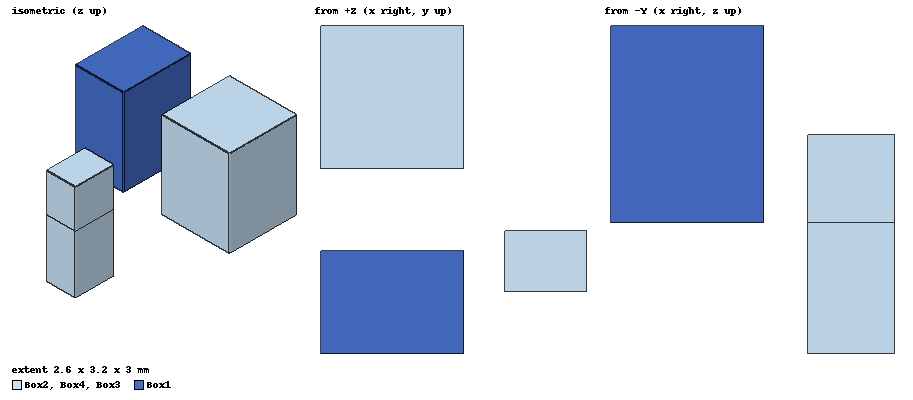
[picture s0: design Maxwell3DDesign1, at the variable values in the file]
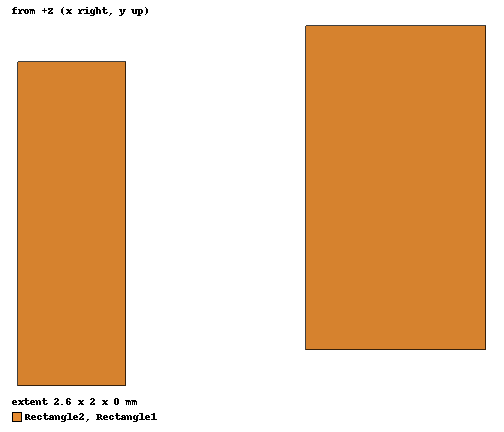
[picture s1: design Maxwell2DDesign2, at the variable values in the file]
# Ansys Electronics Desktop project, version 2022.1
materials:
  vacuum: permittivity=1
  TDK_FB6H_60cel: permeability=1.0539969 magnetic_coercivity{Magnitude=-278571.43A_per_meter DirComp1=1 DirComp2=0 DirComp3=0}
  copper: permeability=0.999991 conductivity=58000000

design Maxwell3DDesign1 (Maxwell 3D, Magnetostatic, model units mm)
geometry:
  Box1 [TDK_FB6H_60cel] = box(corner=(-0.6mm, -2.2mm, 0mm), size=(1.4mm, 1mm, 1.8mm))
  Box2 [vacuum] = box(corner=(-0.6mm, -0.4mm, 0mm), size=(1.4mm, 1.4mm, 1.8mm))
  Box3 [vacuum] = box(corner=(1.2mm, -1.6mm, 0mm), size=(0.8mm, 0.6mm, 0.8mm))
  Box4 [vacuum] = box(corner=(2mm, -1.6mm, 0mm), size=(-0.8mm, 0.6mm, -1.2mm))
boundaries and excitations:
  Insulating1: Insulating Faces=Box1.face(+z)
  IntegratedZeroTangentialHField1: Zero Integrated Tangential H Field Faces=Box2.face(+z)
  Independent1: Independent Faces=Box2.face(+x) CoordSysVector{(0.8, -0.4, 0) -> (0.8, 1, 0)}
  Dependent1: Dependent Faces=Box2.face(-x) CoordSysVector{(-0.6, 1, 0) -> (-0.6, -0.4, 0)} Independent=Independent1 RelationIsSame=true
  Symmetry1: Symmetry Faces=Box1.face(-y) IsOdd=true
  TangentialHField1: Tangential H Field Faces=Box1.face(-x) ComponentXReal=0 ComponentYReal=0 CoordSysVector{(-0.6, -2.2, 0) -> (-0.6, -1.2, 0)}
  ZeroTangentialHField1: Zero Tangential H Field Faces=Box1.face(-y)
  Current1: Current Faces=Box4.face(-z) Current=10mA IsSolid=true Point_out_of_terminal=false
  CurrentDensity1: Current Density Objects=Box3 CurrentDensityX=10 CurrentDensityY=0 CurrentDensityZ=0 CoordinateSystem_ID=1 CoordinateSystem_Type=Cartesian
  CurrentDensityTeminal1: Current Density Terminal Faces=Box4.face(-y)
  Voltage1: Voltage Faces=Box4.face(+x) Voltage=10mV
  VoltageDrop1: Voltage Drop Faces=Box4.face(-y) Voltage_Drop=0mV Point_out_of_terminal=false
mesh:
  initial mesh: GlobalCurvilinear{Apply}
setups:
  Setup1: Magnetostatic MaximumPasses=10 MinimumPasses=2 MinimumConvergedPasses=1 PercentRefinement=30 PercentError=1 ConstantDelta=0s NonLinearResidual=0.001

design Maxwell2DDesign2 (Maxwell 2D, EddyCurrent, XY geometry, model units mm)
options: ModelDepth=1meter
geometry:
  Rectangle1 [copper] = rectangle(corner=(-1.2mm, 0.8mm, 0mm), x_size=0.6mm, y_size=-1.8mm)
  Rectangle2 [copper] = rectangle(corner=(0.4mm, 1mm, 0mm), x_size=1mm, y_size=-1.8mm)
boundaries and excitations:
  Balloon1: Balloon Edges=Rectangle2.edge(x at corner)
  Independent1: Independent Edges=Rectangle2.edge(y at corner)
  Dependent1: Dependent Edges=Rectangle2.edge(y opposite corner) Independent=Independent1 SameAsMaster=true
  Symmetry1: Symmetry Edges=Rectangle2.edge(x opposite corner) IsOdd=true
  VectorPotential1: Vector Potential Edges=Rectangle1.edge(x opposite corner) Phase=0deg Value=0
  Rectangle1: Coil Objects=Rectangle1 Conductor_number=1 Winding=Winding1 PolarityType=Positive
  Current1: Current Objects=Rectangle1 Phase=10deg Current=10mA IsSolid=true IsPositive=true
  CurrentDensity1: Current Density Objects=Rectangle2 Phase=10deg Value=10
  EndConnection1: End Connection Objects=[Rectangle1, Rectangle2] ResistanceValue=0.001ohm InductanceValue=0.0001H
  Winding1: Winding Group Type=Current IsSolid=false Current=0mA ParallelBranchesNum=1 Phase=0deg
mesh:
  initial mesh: MeshMethod=AnsoftTAU
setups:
  Setup1: EddyCurrent MaximumPasses=10 MinimumPasses=2 MinimumConvergedPasses=1 PercentRefinement=30 PercentError=1 NonLinearResidual=0.0001 Frequency=60Hz
